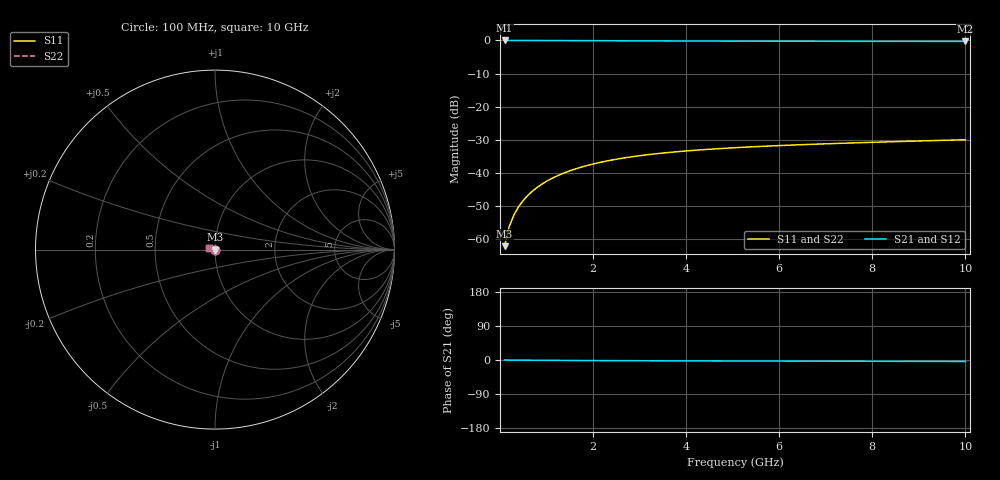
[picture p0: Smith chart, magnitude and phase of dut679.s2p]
! Touchstone file exported from HFSS 2024.1.0
!  File:  C:/UserFiles/LocalFiles/RDL_TSV_Batchsim/temp_TSV1_679_1779794941.aedt
!  Generated:  07:36:45 PM May 26, 2026
!  Design:  TSV1
!  Project:  temp_TSV1_679_1779794941
!  Setup:  Setup1
!  Solution:  Sweep
! Variables:
!  dtsv = 8.56um
!  hbump = 3um
!  htsv = 57.65um
!  lrdl = 252.1521522um
!  p = 40
!  p1 = 48.77um
!  t = 500um
!  trdl = 3um
!  wrdl = 24.89489489um
# GHz S MA R 50.000000
! Terminal data exported
! Port[1] = TSV22_T1
! Port[2] = TSV22_T2
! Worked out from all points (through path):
!   100 points, 100 MHz to 10 GHz, reference 50 ohm
!   highest |S21| = 0.00 dB at 100 MHz (marker M1); lowest = -0.3 dB at 10 GHz (marker M2)
!   lowest |S11| = -62.2 dB at 100 MHz (marker M3), VSWR 1.00, Z = 50 - j0.076 ohm
!   |S11| at or under -10 dB: start of sweep to end of sweep
!   |S22| runs from -62.2 to -30.0 dB; largest |S21 - S12| = 7.2e-15
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0.1  0.0007726 -79.7  0.9998 -0.1  0.9998 -0.1  0.0007726 -79.7
! Gamma 0 0 0 0
! Port Impedance 50 0 50 0
0.2  0.001531 -87.5  0.9997 -0.2  0.9997 -0.2  0.001531 -87.5
0.3  0.002291 -91.5  0.9996 -0.3  0.9996 -0.3  0.002291 -91.5
0.4  0.003046 -94.5  0.9994 -0.4  0.9994 -0.4  0.003046 -94.5
0.5  0.003795 -97.0  0.9991 -0.4  0.9991 -0.4  0.003795 -97.0
0.6  0.004537 -99.3  0.9989 -0.5  0.9989 -0.5  0.004537 -99.3
0.7  0.005269 -101.5  0.9985 -0.6  0.9985 -0.6  0.005269 -101.5
0.8  0.00599 -103.6  0.9982 -0.7  0.9982 -0.7  0.00599 -103.6
0.9  0.0067 -105.7  0.9978 -0.8  0.9978 -0.8  0.0067 -105.7
1.1  0.00808 -109.5  0.9969 -0.9  0.9969 -0.9  0.00808 -109.5
1.4  0.01004 -115.1  0.9953 -1.1  0.9953 -1.1  0.01004 -115.1
1.6  0.01127 -118.6  0.9941 -1.3  0.9941 -1.3  0.01127 -118.6
1.8  0.01242 -121.9  0.9929 -1.4  0.9929 -1.4  0.01242 -121.9
2.1  0.01404 -126.7  0.9911 -1.6  0.9911 -1.6  0.01404 -126.7
2.5  0.01596 -132.7  0.9886 -1.8  0.9886 -1.8  0.01596 -132.7
2.9  0.01765 -138.2  0.9862 -1.9  0.9862 -1.9  0.01765 -138.2
3.4  0.01947 -144.4  0.9835 -2.1  0.9835 -2.1  0.01947 -144.4
4.2  0.02184 -153.2  0.9797 -2.4  0.9797 -2.4  0.02184 -153.2
5.1  0.02395 -161.6  0.9764 -2.6  0.9764 -2.6  0.02395 -161.6
6.7  0.02684 -173.9  0.9721 -3.1  0.9721 -3.1  0.02684 -173.9
8.4  0.02934 175.6  0.9691 -3.5  0.9691 -3.5  0.02934 175.6
10  0.03147 167.5  0.9671 -3.9  0.9671 -3.9  0.03147 167.5
